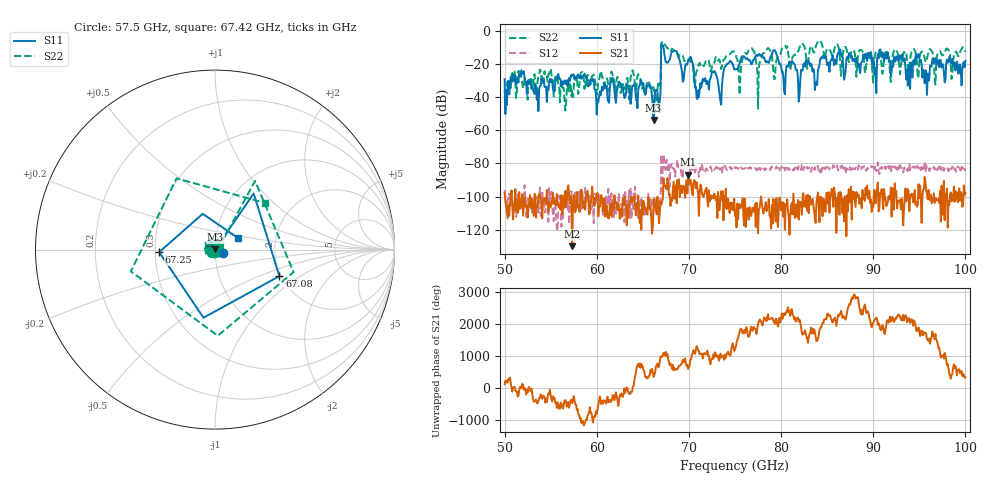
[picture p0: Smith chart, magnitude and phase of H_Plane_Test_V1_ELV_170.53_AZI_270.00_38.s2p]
! 11/27/2026 8:26:50 AM
! C:\ANRITSUVNA\TEMP\TEMP.S2P
! CHANNEL.1
! TR.MEASUREMENT
! RAW.DATA
# HZ S RI R 50.0
! FREQ.HZ  S11RE  S11IM  S21RE  S21IM  S12RE  S12IM  S22RE  S22IM
!; PortSelection: Port_12
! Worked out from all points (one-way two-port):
!   601 points, 50 GHz to 100 GHz, reference 50 ohm
!   highest |S21| = -86.76 dB at 69.92 GHz (marker M1); lowest = -130.0 dB at 57.33 GHz (marker M2)
!   lowest |S11| = -53.6 dB at 66.17 GHz (marker M3), VSWR 1.00, Z = 50.1 + j0.158 ohm
!   |S11| at or under -10 dB: start of sweep to 67 GHz; 67.24 GHz to end of sweep
!   |S22| runs from -48.0 to -5.6 dB; largest |S21 - S12| = 0.00019
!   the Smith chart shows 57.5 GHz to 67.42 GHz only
!   S11 on the Smith chart (normalised r, x): 57.5 GHz: 1.09, -0.05; 67.08 GHz: 1.96, -0.68; 67.25 GHz: 0.53, -0.02; 67.42 GHz: 1.29, +0.17
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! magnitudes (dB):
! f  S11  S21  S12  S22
! 50 GHz  -29.0  -97.8  -96.0  -35.6
! 57.33 GHz  -27.1  -130.0  -105.5  -35.9
! 57.5 GHz  -26.1  -99.1  -104.3  -34.4
! 58.42 GHz  -27.1  -99.7  -97.1  -24.7
! 60.17 GHz  -42.8  -111.9  -98.1  -30.2
! 66.17 GHz  -53.6  -106.7  -102.3  -34.0
! 66.67 GHz  -41.8  -106.9  -107.4  -31.5
! 67.08 GHz  -8.2  -102.8  -96.4  -6.8
! 67.25 GHz  -10.1  -89.0  -74.5  -6.3
! 67.42 GHz  -16.8  -93.3  -83.8  -8.4
! 69.92 GHz  -17.9  -86.8  -81.8  -17.3
! 70.92 GHz  -41.1  -94.8  -83.2  -23.1
! 75 GHz  -23.1  -111.8  -82.3  -13.0
! 77.58 GHz  -13.8  -107.6  -83.3  -21.9
! 78.5 GHz  -18.2  -106.2  -82.6  -10.8
! 79.33 GHz  -11.7  -108.8  -83.4  -28.8
! 80.25 GHz  -27.8  -112.1  -83.7  -9.3
! 83.42 GHz  -24.4  -101.4  -83.1  -10.8
! 91.67 GHz  -16.6  -99.7  -81.4  -15.3
! 94.83 GHz  -14.9  -104.8  -81.7  -28.3
! 95.83 GHz  -38.6  -98.5  -81.1  -16.4
! 100 GHz  -17.9  -97.9  -84.5  -12.6
